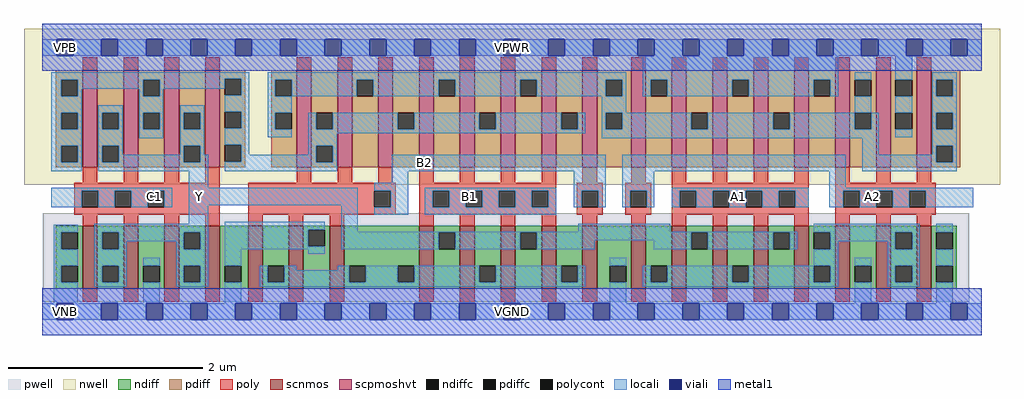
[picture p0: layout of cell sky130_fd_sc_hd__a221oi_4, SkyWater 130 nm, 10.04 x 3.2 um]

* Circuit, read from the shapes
.subckt sky130_fd_sc_hd__a221oi_4 A1 A2 B1 B2 C1 VGND VNB VPB VPWR Y
XM1 Y C1 VGND VNB sky130_fd_pr__nfet_01v8 w=0.65 l=0.15 m=4
XM2 n1 B2 VGND VNB sky130_fd_pr__nfet_01v8 w=0.65 l=0.15 m=4
XM3 Y B1 n1 VNB sky130_fd_pr__nfet_01v8 w=0.65 l=0.15 m=4
XM4 n2 A2 VGND VNB sky130_fd_pr__nfet_01v8 w=0.65 l=0.15 m=4
XM5 Y A1 n2 VNB sky130_fd_pr__nfet_01v8 w=0.65 l=0.15 m=4
XM6 Y C1 n3 VPB sky130_fd_pr__pfet_01v8_hvt w=1 l=0.15 m=4
XM7 n3 B2 n4 VPB sky130_fd_pr__pfet_01v8_hvt w=1 l=0.15 m=4
XM8 n4 B1 n3 VPB sky130_fd_pr__pfet_01v8_hvt w=1 l=0.15 m=4
XM9 VPWR A2 n4 VPB sky130_fd_pr__pfet_01v8_hvt w=1 l=0.15 m=4
XM10 n4 A1 VPWR VPB sky130_fd_pr__pfet_01v8_hvt w=1 l=0.15 m=4
.ends

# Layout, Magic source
magic
tech sky130B
magscale 1 2
<< nwell >>
rect -38 261 1970 582
<< pwell >>
rect 1 21 1907 203
rect 30 -17 64 21
<< scnmos >>
rect 83 47 113 177
rect 167 47 197 177
rect 251 47 281 177
rect 335 47 365 177
rect 423 47 453 177
rect 507 47 537 177
rect 591 47 621 177
rect 775 47 805 177
rect 859 47 889 177
rect 943 47 973 177
rect 1027 47 1057 177
rect 1111 47 1141 177
rect 1211 47 1241 177
rect 1295 47 1325 177
rect 1379 47 1409 177
rect 1463 47 1493 177
rect 1547 47 1577 177
rect 1631 47 1661 177
rect 1715 47 1745 177
rect 1799 47 1829 177
<< scpmoshvt >>
rect 83 297 113 497
rect 167 297 197 497
rect 251 297 281 497
rect 335 297 365 497
rect 523 297 553 497
rect 607 297 637 497
rect 691 297 721 497
rect 775 297 805 497
rect 859 297 889 497
rect 943 297 973 497
rect 1027 297 1057 497
rect 1111 297 1141 497
rect 1211 297 1241 497
rect 1295 297 1325 497
rect 1379 297 1409 497
rect 1463 297 1493 497
rect 1547 297 1577 497
rect 1631 297 1661 497
rect 1715 297 1745 497
rect 1799 297 1829 497
<< ndiff >>
rect 27 163 83 177
rect 27 129 39 163
rect 73 129 83 163
rect 27 95 83 129
rect 27 61 39 95
rect 73 61 83 95
rect 27 47 83 61
rect 113 163 167 177
rect 113 129 123 163
rect 157 129 167 163
rect 113 95 167 129
rect 113 61 123 95
rect 157 61 167 95
rect 113 47 167 61
rect 197 95 251 177
rect 197 61 207 95
rect 241 61 251 95
rect 197 47 251 61
rect 281 163 335 177
rect 281 129 291 163
rect 325 129 335 163
rect 281 95 335 129
rect 281 61 291 95
rect 325 61 335 95
rect 281 47 335 61
rect 365 95 423 177
rect 365 61 375 95
rect 409 61 423 95
rect 365 47 423 61
rect 453 95 507 177
rect 453 61 463 95
rect 497 61 507 95
rect 453 47 507 61
rect 537 169 591 177
rect 537 135 547 169
rect 581 135 591 169
rect 537 47 591 135
rect 621 95 775 177
rect 621 61 631 95
rect 665 61 731 95
rect 765 61 775 95
rect 621 47 775 61
rect 805 163 859 177
rect 805 129 815 163
rect 849 129 859 163
rect 805 47 859 129
rect 889 95 943 177
rect 889 61 899 95
rect 933 61 943 95
rect 889 47 943 61
rect 973 163 1027 177
rect 973 129 983 163
rect 1017 129 1027 163
rect 973 47 1027 129
rect 1057 95 1111 177
rect 1057 61 1067 95
rect 1101 61 1111 95
rect 1057 47 1111 61
rect 1141 95 1211 177
rect 1141 61 1167 95
rect 1201 61 1211 95
rect 1141 47 1211 61
rect 1241 95 1295 177
rect 1241 61 1251 95
rect 1285 61 1295 95
rect 1241 47 1295 61
rect 1325 163 1379 177
rect 1325 129 1335 163
rect 1369 129 1379 163
rect 1325 47 1379 129
rect 1409 95 1463 177
rect 1409 61 1419 95
rect 1453 61 1463 95
rect 1409 47 1463 61
rect 1493 163 1547 177
rect 1493 129 1503 163
rect 1537 129 1547 163
rect 1493 47 1547 129
rect 1577 163 1631 177
rect 1577 129 1587 163
rect 1621 129 1631 163
rect 1577 95 1631 129
rect 1577 61 1587 95
rect 1621 61 1631 95
rect 1577 47 1631 61
rect 1661 95 1715 177
rect 1661 61 1671 95
rect 1705 61 1715 95
rect 1661 47 1715 61
rect 1745 163 1799 177
rect 1745 129 1755 163
rect 1789 129 1799 163
rect 1745 95 1799 129
rect 1745 61 1755 95
rect 1789 61 1799 95
rect 1745 47 1799 61
rect 1829 163 1881 177
rect 1829 129 1839 163
rect 1873 129 1881 163
rect 1829 95 1881 129
rect 1829 61 1839 95
rect 1873 61 1881 95
rect 1829 47 1881 61
<< pdiff >>
rect 27 477 83 497
rect 27 443 39 477
rect 73 443 83 477
rect 27 409 83 443
rect 27 375 39 409
rect 73 375 83 409
rect 27 341 83 375
rect 27 307 39 341
rect 73 307 83 341
rect 27 297 83 307
rect 113 409 167 497
rect 113 375 123 409
rect 157 375 167 409
rect 113 341 167 375
rect 113 307 123 341
rect 157 307 167 341
rect 113 297 167 307
rect 197 477 251 497
rect 197 443 207 477
rect 241 443 251 477
rect 197 409 251 443
rect 197 375 207 409
rect 241 375 251 409
rect 197 297 251 375
rect 281 409 335 497
rect 281 375 291 409
rect 325 375 335 409
rect 281 341 335 375
rect 281 307 291 341
rect 325 307 335 341
rect 281 297 335 307
rect 365 479 417 497
rect 365 445 375 479
rect 409 445 417 479
rect 365 411 417 445
rect 365 377 375 411
rect 409 377 417 411
rect 365 343 417 377
rect 365 309 375 343
rect 409 309 417 343
rect 365 297 417 309
rect 471 477 523 497
rect 471 443 479 477
rect 513 443 523 477
rect 471 409 523 443
rect 471 375 479 409
rect 513 375 523 409
rect 471 297 523 375
rect 553 409 607 497
rect 553 375 563 409
rect 597 375 607 409
rect 553 341 607 375
rect 553 307 563 341
rect 597 307 607 341
rect 553 297 607 307
rect 637 477 691 497
rect 637 443 647 477
rect 681 443 691 477
rect 637 297 691 443
rect 721 409 775 497
rect 721 375 731 409
rect 765 375 775 409
rect 721 297 775 375
rect 805 477 859 497
rect 805 443 815 477
rect 849 443 859 477
rect 805 297 859 443
rect 889 409 943 497
rect 889 375 899 409
rect 933 375 943 409
rect 889 297 943 375
rect 973 477 1027 497
rect 973 443 983 477
rect 1017 443 1027 477
rect 973 297 1027 443
rect 1057 409 1111 497
rect 1057 375 1067 409
rect 1101 375 1111 409
rect 1057 297 1111 375
rect 1141 477 1211 497
rect 1141 443 1159 477
rect 1193 443 1211 477
rect 1141 409 1211 443
rect 1141 375 1159 409
rect 1193 375 1211 409
rect 1141 297 1211 375
rect 1241 477 1295 497
rect 1241 443 1251 477
rect 1285 443 1295 477
rect 1241 297 1295 443
rect 1325 409 1379 497
rect 1325 375 1335 409
rect 1369 375 1379 409
rect 1325 297 1379 375
rect 1409 477 1463 497
rect 1409 443 1419 477
rect 1453 443 1463 477
rect 1409 297 1463 443
rect 1493 409 1547 497
rect 1493 375 1503 409
rect 1537 375 1547 409
rect 1493 297 1547 375
rect 1577 477 1631 497
rect 1577 443 1587 477
rect 1621 443 1631 477
rect 1577 297 1631 443
rect 1661 477 1715 497
rect 1661 443 1671 477
rect 1705 443 1715 477
rect 1661 409 1715 443
rect 1661 375 1671 409
rect 1705 375 1715 409
rect 1661 297 1715 375
rect 1745 477 1799 497
rect 1745 443 1755 477
rect 1789 443 1799 477
rect 1745 409 1799 443
rect 1745 375 1755 409
rect 1789 375 1799 409
rect 1745 297 1799 375
rect 1829 477 1888 497
rect 1829 443 1839 477
rect 1873 443 1888 477
rect 1829 409 1888 443
rect 1829 375 1839 409
rect 1873 375 1888 409
rect 1829 341 1888 375
rect 1829 307 1839 341
rect 1873 307 1888 341
rect 1829 297 1888 307
<< ndiffc >>
rect 39 129 73 163
rect 39 61 73 95
rect 123 129 157 163
rect 123 61 157 95
rect 207 61 241 95
rect 291 129 325 163
rect 291 61 325 95
rect 375 61 409 95
rect 463 61 497 95
rect 547 135 581 169
rect 631 61 665 95
rect 731 61 765 95
rect 815 129 849 163
rect 899 61 933 95
rect 983 129 1017 163
rect 1067 61 1101 95
rect 1167 61 1201 95
rect 1251 61 1285 95
rect 1335 129 1369 163
rect 1419 61 1453 95
rect 1503 129 1537 163
rect 1587 129 1621 163
rect 1587 61 1621 95
rect 1671 61 1705 95
rect 1755 129 1789 163
rect 1755 61 1789 95
rect 1839 129 1873 163
rect 1839 61 1873 95
<< pdiffc >>
rect 39 443 73 477
rect 39 375 73 409
rect 39 307 73 341
rect 123 375 157 409
rect 123 307 157 341
rect 207 443 241 477
rect 207 375 241 409
rect 291 375 325 409
rect 291 307 325 341
rect 375 445 409 479
rect 375 377 409 411
rect 375 309 409 343
rect 479 443 513 477
rect 479 375 513 409
rect 563 375 597 409
rect 563 307 597 341
rect 647 443 681 477
rect 731 375 765 409
rect 815 443 849 477
rect 899 375 933 409
rect 983 443 1017 477
rect 1067 375 1101 409
rect 1159 443 1193 477
rect 1159 375 1193 409
rect 1251 443 1285 477
rect 1335 375 1369 409
rect 1419 443 1453 477
rect 1503 375 1537 409
rect 1587 443 1621 477
rect 1671 443 1705 477
rect 1671 375 1705 409
rect 1755 443 1789 477
rect 1755 375 1789 409
rect 1839 443 1873 477
rect 1839 375 1873 409
rect 1839 307 1873 341
<< poly >>
rect 83 497 113 523
rect 167 497 197 523
rect 251 497 281 523
rect 335 497 365 523
rect 523 497 553 523
rect 607 497 637 523
rect 691 497 721 523
rect 775 497 805 523
rect 859 497 889 523
rect 943 497 973 523
rect 1027 497 1057 523
rect 1111 497 1141 523
rect 1211 497 1241 523
rect 1295 497 1325 523
rect 1379 497 1409 523
rect 1463 497 1493 523
rect 1547 497 1577 523
rect 1631 497 1661 523
rect 1715 497 1745 523
rect 1799 497 1829 523
rect 83 265 113 297
rect 167 265 197 297
rect 251 265 281 297
rect 335 265 365 297
rect 523 265 553 297
rect 607 265 637 297
rect 691 265 721 297
rect 775 265 805 297
rect 859 265 889 297
rect 943 265 973 297
rect 1027 265 1057 297
rect 1111 265 1141 297
rect 1211 265 1241 297
rect 1295 265 1325 297
rect 1379 265 1409 297
rect 1463 265 1493 297
rect 1547 265 1577 297
rect 65 249 365 265
rect 65 215 81 249
rect 115 215 149 249
rect 183 215 217 249
rect 251 215 365 249
rect 65 199 365 215
rect 83 177 113 199
rect 167 177 197 199
rect 251 177 281 199
rect 335 177 365 199
rect 423 249 727 265
rect 423 215 683 249
rect 717 215 727 249
rect 423 199 727 215
rect 775 249 1057 265
rect 775 215 803 249
rect 837 215 871 249
rect 905 215 939 249
rect 973 215 1007 249
rect 1041 215 1057 249
rect 775 199 1057 215
rect 1099 249 1153 265
rect 1099 215 1109 249
rect 1143 215 1153 249
rect 1099 199 1153 215
rect 1199 249 1253 265
rect 1199 215 1209 249
rect 1243 215 1253 249
rect 1199 199 1253 215
rect 1295 249 1577 265
rect 1295 215 1311 249
rect 1345 215 1379 249
rect 1413 215 1447 249
rect 1481 215 1515 249
rect 1549 215 1577 249
rect 1295 199 1577 215
rect 423 177 453 199
rect 507 177 537 199
rect 591 177 621 199
rect 775 177 805 199
rect 859 177 889 199
rect 943 177 973 199
rect 1027 177 1057 199
rect 1111 177 1141 199
rect 1211 177 1241 199
rect 1295 177 1325 199
rect 1379 177 1409 199
rect 1463 177 1493 199
rect 1547 177 1577 199
rect 1631 265 1661 297
rect 1715 265 1745 297
rect 1799 265 1829 297
rect 1631 249 1838 265
rect 1631 215 1647 249
rect 1681 215 1715 249
rect 1749 215 1783 249
rect 1817 215 1838 249
rect 1631 199 1838 215
rect 1631 177 1661 199
rect 1715 177 1745 199
rect 1799 177 1829 199
rect 83 21 113 47
rect 167 21 197 47
rect 251 21 281 47
rect 335 21 365 47
rect 423 21 453 47
rect 507 21 537 47
rect 591 21 621 47
rect 775 21 805 47
rect 859 21 889 47
rect 943 21 973 47
rect 1027 21 1057 47
rect 1111 21 1141 47
rect 1211 21 1241 47
rect 1295 21 1325 47
rect 1379 21 1409 47
rect 1463 21 1493 47
rect 1547 21 1577 47
rect 1631 21 1661 47
rect 1715 21 1745 47
rect 1799 21 1829 47
<< polycont >>
rect 81 215 115 249
rect 149 215 183 249
rect 217 215 251 249
rect 683 215 717 249
rect 803 215 837 249
rect 871 215 905 249
rect 939 215 973 249
rect 1007 215 1041 249
rect 1109 215 1143 249
rect 1209 215 1243 249
rect 1311 215 1345 249
rect 1379 215 1413 249
rect 1447 215 1481 249
rect 1515 215 1549 249
rect 1647 215 1681 249
rect 1715 215 1749 249
rect 1783 215 1817 249
<< locali >>
rect 0 527 29 561
rect 63 527 121 561
rect 155 527 213 561
rect 247 527 305 561
rect 339 527 397 561
rect 431 527 489 561
rect 523 527 581 561
rect 615 527 673 561
rect 707 527 765 561
rect 799 527 857 561
rect 891 527 949 561
rect 983 527 1041 561
rect 1075 527 1133 561
rect 1167 527 1225 561
rect 1259 527 1317 561
rect 1351 527 1409 561
rect 1443 527 1501 561
rect 1535 527 1593 561
rect 1627 527 1685 561
rect 1719 527 1777 561
rect 1811 527 1869 561
rect 1903 527 1932 561
rect 18 479 425 493
rect 18 477 375 479
rect 18 443 39 477
rect 73 459 207 477
rect 73 443 81 459
rect 18 409 81 443
rect 199 443 207 459
rect 241 459 375 477
rect 241 443 249 459
rect 18 375 39 409
rect 73 375 81 409
rect 18 341 81 375
rect 18 307 39 341
rect 73 307 81 341
rect 18 289 81 307
rect 115 409 165 425
rect 115 375 123 409
rect 157 375 165 409
rect 115 341 165 375
rect 199 409 249 443
rect 409 445 425 479
rect 199 375 207 409
rect 241 375 249 409
rect 199 357 249 375
rect 283 409 333 425
rect 283 375 291 409
rect 325 375 333 409
rect 115 307 123 341
rect 157 323 165 341
rect 283 341 333 375
rect 283 323 291 341
rect 157 307 291 323
rect 325 323 333 341
rect 375 411 425 445
rect 409 377 425 411
rect 375 343 425 377
rect 463 477 1201 493
rect 463 443 479 477
rect 513 443 647 477
rect 681 443 815 477
rect 849 443 983 477
rect 1017 443 1159 477
rect 1193 443 1201 477
rect 1235 477 1637 527
rect 1235 443 1251 477
rect 1285 443 1419 477
rect 1453 443 1587 477
rect 1621 443 1637 477
rect 1671 477 1705 493
rect 463 409 513 443
rect 1151 409 1201 443
rect 1671 409 1705 443
rect 1755 477 1789 527
rect 1755 409 1789 443
rect 463 375 479 409
rect 463 359 513 375
rect 547 375 563 409
rect 597 375 731 409
rect 765 375 899 409
rect 933 375 1067 409
rect 1101 375 1117 409
rect 547 367 1117 375
rect 1151 375 1159 409
rect 1193 375 1335 409
rect 1369 375 1503 409
rect 1537 375 1671 409
rect 1705 375 1721 409
rect 325 307 341 323
rect 115 289 341 307
rect 409 323 425 343
rect 547 341 606 367
rect 1151 357 1721 375
rect 1755 359 1789 375
rect 1831 477 1881 493
rect 1831 443 1839 477
rect 1873 443 1881 477
rect 1831 409 1881 443
rect 1831 375 1839 409
rect 1873 375 1881 409
rect 547 323 563 341
rect 409 309 563 323
rect 375 307 563 309
rect 597 307 606 341
rect 1687 323 1721 357
rect 1831 341 1881 375
rect 1831 323 1839 341
rect 375 289 606 307
rect 719 289 1159 323
rect 301 255 341 289
rect 719 265 753 289
rect 18 249 267 255
rect 18 215 81 249
rect 115 215 149 249
rect 183 215 217 249
rect 251 215 267 249
rect 301 219 649 255
rect 301 181 341 219
rect 23 163 73 179
rect 23 129 39 163
rect 23 95 73 129
rect 23 61 39 95
rect 23 17 73 61
rect 107 163 341 181
rect 107 129 123 163
rect 157 145 291 163
rect 157 129 173 145
rect 107 95 173 129
rect 275 129 291 145
rect 325 129 341 163
rect 107 61 123 95
rect 157 61 173 95
rect 107 51 173 61
rect 207 95 241 111
rect 207 17 241 61
rect 275 95 341 129
rect 275 61 291 95
rect 325 61 341 95
rect 275 51 341 61
rect 375 169 581 185
rect 375 135 547 169
rect 375 129 581 135
rect 615 164 649 219
rect 683 249 753 265
rect 717 215 753 249
rect 683 199 753 215
rect 787 249 1057 255
rect 787 215 803 249
rect 837 215 871 249
rect 905 215 939 249
rect 973 215 1007 249
rect 1041 215 1057 249
rect 1093 249 1159 289
rect 1093 215 1109 249
rect 1143 215 1159 249
rect 1193 289 1653 323
rect 1687 307 1839 323
rect 1873 307 1881 341
rect 1687 289 1881 307
rect 1193 249 1259 289
rect 1619 255 1653 289
rect 1193 215 1209 249
rect 1243 215 1259 249
rect 1295 249 1577 255
rect 1295 215 1311 249
rect 1345 215 1379 249
rect 1413 215 1447 249
rect 1481 215 1515 249
rect 1549 215 1577 249
rect 1619 249 1915 255
rect 1619 215 1647 249
rect 1681 215 1715 249
rect 1749 215 1783 249
rect 1817 215 1915 249
rect 787 199 1057 215
rect 1102 164 1292 181
rect 615 163 1553 164
rect 615 129 815 163
rect 849 129 983 163
rect 1017 147 1335 163
rect 1017 129 1136 147
rect 1258 129 1335 147
rect 1369 129 1503 163
rect 1537 129 1553 163
rect 1587 163 1805 181
rect 1621 145 1755 163
rect 1621 129 1637 145
rect 375 95 409 129
rect 547 119 581 129
rect 1167 95 1201 111
rect 1587 95 1637 129
rect 1739 129 1755 145
rect 1789 129 1805 163
rect 375 17 409 61
rect 447 61 463 95
rect 497 85 522 95
rect 607 85 631 95
rect 497 61 631 85
rect 665 61 731 95
rect 765 61 899 95
rect 933 61 1067 95
rect 1101 61 1117 95
rect 447 51 1117 61
rect 1167 17 1201 61
rect 1235 61 1251 95
rect 1285 61 1419 95
rect 1453 61 1587 95
rect 1621 61 1637 95
rect 1235 51 1637 61
rect 1671 95 1705 111
rect 1671 17 1705 61
rect 1739 95 1805 129
rect 1739 61 1755 95
rect 1789 61 1805 95
rect 1739 51 1805 61
rect 1839 163 1873 181
rect 1839 95 1873 129
rect 1839 17 1873 61
rect 0 -17 29 17
rect 63 -17 121 17
rect 155 -17 213 17
rect 247 -17 305 17
rect 339 -17 397 17
rect 431 -17 489 17
rect 523 -17 581 17
rect 615 -17 673 17
rect 707 -17 765 17
rect 799 -17 857 17
rect 891 -17 949 17
rect 983 -17 1041 17
rect 1075 -17 1133 17
rect 1167 -17 1225 17
rect 1259 -17 1317 17
rect 1351 -17 1409 17
rect 1443 -17 1501 17
rect 1535 -17 1593 17
rect 1627 -17 1685 17
rect 1719 -17 1777 17
rect 1811 -17 1869 17
rect 1903 -17 1932 17
<< viali >>
rect 29 527 63 561
rect 121 527 155 561
rect 213 527 247 561
rect 305 527 339 561
rect 397 527 431 561
rect 489 527 523 561
rect 581 527 615 561
rect 673 527 707 561
rect 765 527 799 561
rect 857 527 891 561
rect 949 527 983 561
rect 1041 527 1075 561
rect 1133 527 1167 561
rect 1225 527 1259 561
rect 1317 527 1351 561
rect 1409 527 1443 561
rect 1501 527 1535 561
rect 1593 527 1627 561
rect 1685 527 1719 561
rect 1777 527 1811 561
rect 1869 527 1903 561
rect 29 -17 63 17
rect 121 -17 155 17
rect 213 -17 247 17
rect 305 -17 339 17
rect 397 -17 431 17
rect 489 -17 523 17
rect 581 -17 615 17
rect 673 -17 707 17
rect 765 -17 799 17
rect 857 -17 891 17
rect 949 -17 983 17
rect 1041 -17 1075 17
rect 1133 -17 1167 17
rect 1225 -17 1259 17
rect 1317 -17 1351 17
rect 1409 -17 1443 17
rect 1501 -17 1535 17
rect 1593 -17 1627 17
rect 1685 -17 1719 17
rect 1777 -17 1811 17
rect 1869 -17 1903 17
<< metal1 >>
rect 0 561 1932 592
rect 0 527 29 561
rect 63 527 121 561
rect 155 527 213 561
rect 247 527 305 561
rect 339 527 397 561
rect 431 527 489 561
rect 523 527 581 561
rect 615 527 673 561
rect 707 527 765 561
rect 799 527 857 561
rect 891 527 949 561
rect 983 527 1041 561
rect 1075 527 1133 561
rect 1167 527 1225 561
rect 1259 527 1317 561
rect 1351 527 1409 561
rect 1443 527 1501 561
rect 1535 527 1593 561
rect 1627 527 1685 561
rect 1719 527 1777 561
rect 1811 527 1869 561
rect 1903 527 1932 561
rect 0 496 1932 527
rect 0 17 1932 48
rect 0 -17 29 17
rect 63 -17 121 17
rect 155 -17 213 17
rect 247 -17 305 17
rect 339 -17 397 17
rect 431 -17 489 17
rect 523 -17 581 17
rect 615 -17 673 17
rect 707 -17 765 17
rect 799 -17 857 17
rect 891 -17 949 17
rect 983 -17 1041 17
rect 1075 -17 1133 17
rect 1167 -17 1225 17
rect 1259 -17 1317 17
rect 1351 -17 1409 17
rect 1443 -17 1501 17
rect 1535 -17 1593 17
rect 1627 -17 1685 17
rect 1719 -17 1777 17
rect 1811 -17 1869 17
rect 1903 -17 1932 17
rect 0 -48 1932 -17
<< labels >>
flabel locali s 1690 221 1724 255 0 FreeSans 400 180 0 0 A2
port 2 nsew signal input
flabel locali s 306 221 340 255 0 FreeSans 400 180 0 0 Y
port 10 nsew signal output
flabel locali s 214 221 248 255 0 FreeSans 400 0 0 0 C1
port 5 nsew signal input
flabel locali s 1414 221 1448 255 0 FreeSans 400 180 0 0 A1
port 1 nsew signal input
flabel locali s 770 289 804 323 0 FreeSans 400 0 0 0 B2
port 4 nsew signal input
flabel locali s 862 221 896 255 0 FreeSans 400 0 0 0 B1
port 3 nsew signal input
flabel pwell s 30 -17 64 17 0 FreeSans 200 0 0 0 VNB
port 7 nsew ground bidirectional
flabel nwell s 30 527 64 561 0 FreeSans 200 0 0 0 VPB
port 8 nsew power bidirectional
flabel metal1 s 30 527 64 561 0 FreeSans 200 0 0 0 VPWR
port 9 nsew power bidirectional abutment
flabel metal1 s 30 -17 64 17 0 FreeSans 200 0 0 0 VGND
port 6 nsew ground bidirectional abutment
rlabel comment s 0 0 0 0 4 a221oi_4
rlabel metal1 s 0 -48 1932 48 1 VGND
port 6 nsew ground bidirectional abutment
rlabel metal1 s 0 496 1932 592 1 VPWR
port 9 nsew power bidirectional abutment
<< properties >>
string FIXED_BBOX 0 0 1932 544
string GDS_END 3668262
string GDS_FILE $PDKPATH/libs.ref/sky130_fd_sc_hd/gds/sky130_fd_sc_hd.gds
string GDS_START 3655040
string LEFclass CORE
string LEFsite unithd
string LEFsymmetry X Y R90
string path 0.000 0.000 48.300 0.000 
<< end >>
